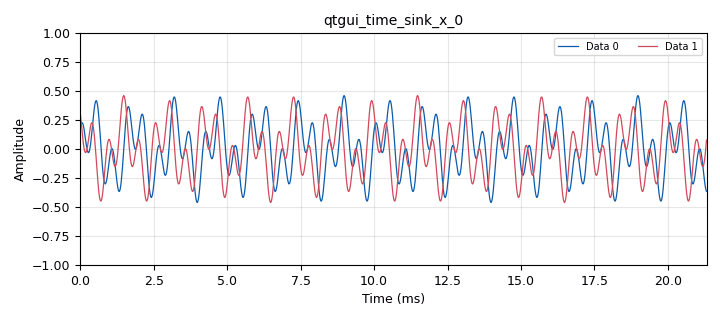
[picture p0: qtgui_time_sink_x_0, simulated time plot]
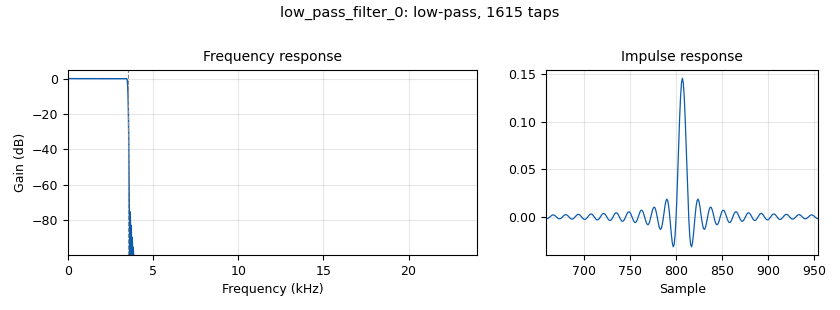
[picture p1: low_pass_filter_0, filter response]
<?xml version='1.0' encoding='utf-8'?>
<?grc format='1' created='3.7.13'?>
<flow_graph>
<block>
<key>options</key>
<param><key>id</key><value>twotone</value></param>
<param><key>generate_options</key><value>qt_gui</value></param>
</block>
<block>
<key>variable_qtgui_range</key>
<param><key>id</key><value>ToneFreq</value></param>
<param><key>value</key><value>700</value></param>
<param><key>orient</key><value>Qt.Horizontal</value></param>
<param><key>start</key><value>50</value></param>
<param><key>step</key><value>100</value></param>
<param><key>stop</key><value>10000</value></param>
</block>
<block>
<key>variable_qtgui_range</key>
<param><key>id</key><value>ToneFreq2</value></param>
<param><key>value</key><value>1900</value></param>
<param><key>orient</key><value>Qt.Horizontal</value></param>
<param><key>start</key><value>50</value></param>
<param><key>step</key><value>100</value></param>
<param><key>stop</key><value>10000</value></param>
</block>
<block>
<key>variable_qtgui_range</key>
<param><key>id</key><value>ToneLevel</value></param>
<param><key>value</key><value>0.23</value></param>
<param><key>orient</key><value>Qt.Horizontal</value></param>
<param><key>start</key><value>0</value></param>
<param><key>step</key><value>.01</value></param>
<param><key>stop</key><value>1</value></param>
</block>
<block>
<key>variable_qtgui_range</key>
<param><key>id</key><value>ToneLevel2</value></param>
<param><key>value</key><value>0.23</value></param>
<param><key>orient</key><value>Qt.Horizontal</value></param>
<param><key>start</key><value>0</value></param>
<param><key>step</key><value>.01</value></param>
<param><key>stop</key><value>1</value></param>
</block>
<block>
<key>variable_qtgui_range</key>
<param><key>id</key><value>balance</value></param>
<param><key>value</key><value>0</value></param>
<param><key>label</key><value>balance</value></param>
<param><key>orient</key><value>Qt.Horizontal</value></param>
<param><key>start</key><value>-1</value></param>
<param><key>step</key><value>.01</value></param>
<param><key>stop</key><value>+1</value></param>
</block>
<block>
<key>variable</key>
<param><key>id</key><value>samp_rate</value></param>
<param><key>value</key><value>48000</value></param>
</block>
<block>
<key>analog_sig_source_x</key>
<param><key>id</key><value>analog_sig_source_x_0</value></param>
<param><key>amp</key><value>ToneLevel</value></param>
<param><key>freq</key><value>ToneFreq</value></param>
<param><key>offset</key><value>0</value></param>
<param><key>type</key><value>complex</value></param>
<param><key>samp_rate</key><value>samp_rate</value></param>
<param><key>waveform</key><value>analog.GR_COS_WAVE</value></param>
</block>
<block>
<key>analog_sig_source_x</key>
<param><key>id</key><value>analog_sig_source_x_0_0</value></param>
<param><key>amp</key><value>ToneLevel2</value></param>
<param><key>freq</key><value>ToneFreq2</value></param>
<param><key>offset</key><value>0</value></param>
<param><key>type</key><value>complex</value></param>
<param><key>samp_rate</key><value>samp_rate</value></param>
<param><key>waveform</key><value>analog.GR_COS_WAVE</value></param>
</block>
<block>
<key>audio_sink</key>
<param><key>id</key><value>audio_sink_0</value></param>
<param><key>device_name</key><value>hw:GenericStereoAu,0</value></param>
<param><key>num_inputs</key><value>2</value></param>
<param><key>samp_rate</key><value>samp_rate</value></param>
</block>
<block>
<key>blocks_add_xx</key>
<param><key>id</key><value>blocks_add_xx_0</value></param>
<param><key>type</key><value>complex</value></param>
</block>
<block>
<key>blocks_complex_to_float</key>
<param><key>id</key><value>blocks_complex_to_float_0</value></param>
</block>
<block>
<key>blocks_multiply_const_vxx</key>
<param><key>id</key><value>blocks_multiply_const_vxx_0</value></param>
<param><key>const</key><value>1 - balance/2</value></param>
<param><key>type</key><value>float</value></param>
</block>
<block>
<key>blocks_multiply_const_vxx</key>
<param><key>id</key><value>blocks_multiply_const_vxx_1</value></param>
<param><key>const</key><value>1 + balance/2</value></param>
<param><key>type</key><value>float</value></param>
</block>
<block>
<key>low_pass_filter</key>
<param><key>id</key><value>low_pass_filter_0</value></param>
<param><key>cutoff_freq</key><value>3500</value></param>
<param><key>decim</key><value>1</value></param>
<param><key>type</key><value>fir_filter_ccf</value></param>
<param><key>gain</key><value>1</value></param>
<param><key>samp_rate</key><value>samp_rate</value></param>
<param><key>width</key><value>100</value></param>
<param><key>win</key><value>firdes.WIN_BLACKMAN</value></param>
</block>
<block>
<key>qtgui_time_sink_x</key>
<param><key>id</key><value>qtgui_time_sink_x_0</value></param>
<param><key>color1</key><value>"blue"</value></param>
<param><key>label1</key><value></value></param>
<param><key>color2</key><value>"red"</value></param>
<param><key>label2</key><value></value></param>
<param><key>nconnections</key><value>2</value></param>
<param><key>size</key><value>1024</value></param>
<param><key>srate</key><value>samp_rate</value></param>
<param><key>type</key><value>float</value></param>
</block>
<connection><source_block_id>analog_sig_source_x_0</source_block_id><sink_block_id>blocks_add_xx_0</sink_block_id><source_key>0</source_key><sink_key>0</sink_key></connection>
<connection><source_block_id>analog_sig_source_x_0_0</source_block_id><sink_block_id>blocks_add_xx_0</sink_block_id><source_key>0</source_key><sink_key>1</sink_key></connection>
<connection><source_block_id>blocks_add_xx_0</source_block_id><sink_block_id>low_pass_filter_0</sink_block_id><source_key>0</source_key><sink_key>0</sink_key></connection>
<connection><source_block_id>blocks_complex_to_float_0</source_block_id><sink_block_id>blocks_multiply_const_vxx_0</sink_block_id><source_key>1</source_key><sink_key>0</sink_key></connection>
<connection><source_block_id>blocks_complex_to_float_0</source_block_id><sink_block_id>blocks_multiply_const_vxx_1</sink_block_id><source_key>0</source_key><sink_key>0</sink_key></connection>
<connection><source_block_id>blocks_multiply_const_vxx_0</source_block_id><sink_block_id>audio_sink_0</sink_block_id><source_key>0</source_key><sink_key>0</sink_key></connection>
<connection><source_block_id>blocks_multiply_const_vxx_0</source_block_id><sink_block_id>qtgui_time_sink_x_0</sink_block_id><source_key>0</source_key><sink_key>0</sink_key></connection>
<connection><source_block_id>blocks_multiply_const_vxx_1</source_block_id><sink_block_id>audio_sink_0</sink_block_id><source_key>0</source_key><sink_key>1</sink_key></connection>
<connection><source_block_id>blocks_multiply_const_vxx_1</source_block_id><sink_block_id>qtgui_time_sink_x_0</sink_block_id><source_key>0</source_key><sink_key>1</sink_key></connection>
<connection><source_block_id>low_pass_filter_0</source_block_id><sink_block_id>blocks_complex_to_float_0</sink_block_id><source_key>0</source_key><sink_key>0</sink_key></connection>
</flow_graph>
